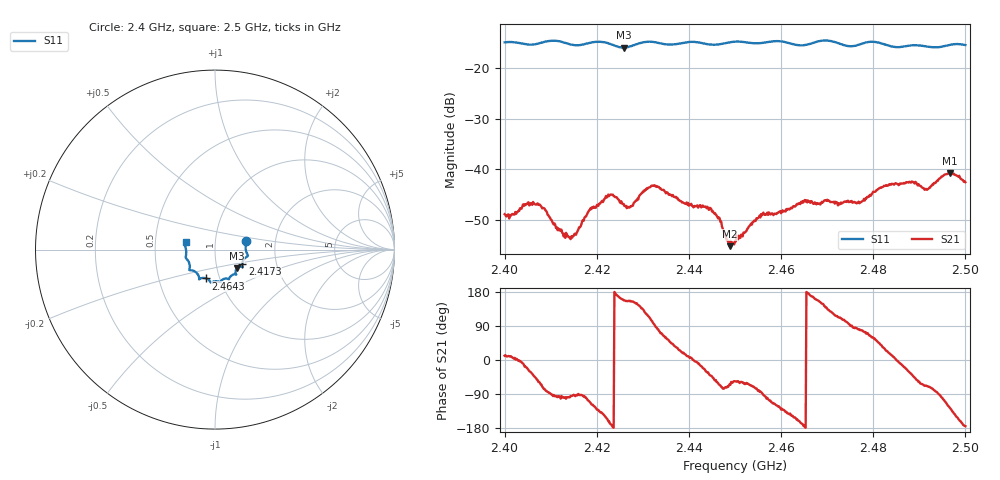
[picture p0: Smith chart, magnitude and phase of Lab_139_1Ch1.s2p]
# Hz S RI R 50
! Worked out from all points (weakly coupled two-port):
!   601 points, 2.4 GHz to 2.5 GHz, reference 50 ohm
!   highest |S21| = -40.70 dB at 2.4967 GHz (marker M1); lowest = -55.2 dB at 2.4488 GHz (marker M2)
!   lowest |S11| = -15.9 dB at 2.4258 GHz (marker M3), VSWR 1.38, Z = 62.3 - j13.3 ohm
!   |S11| at or under -10 dB: start of sweep to end of sweep
!   S12 and S22 are empty: the file has one direction only
!   S11 on the Smith chart (normalised r, x): 2.4 GHz: 1.41, +0.14; 2.4173 GHz: 1.34, -0.23; 2.4643 GHz: 0.86, -0.28; 2.5 GHz: 0.72, +0.06
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2.4e9  0.1733 0.0486  0.00354 0.000706  0 0  0 0
2.406667e9  0.1723 -0.00637  0.00311 -0.00326  0 0  0 0
2.414167e9  0.1654 -0.0484  -0.000299 -0.00208  0 0  0 0
2.416667e9  0.1529 -0.0747  -9.37e-05 -0.00288  0 0  0 0
2.417333e9  0.152 -0.0823  -0.000465 -0.00331  0 0  0 0
2.423e9  0.1454 -0.0945  -0.00554 -0.00106  0 0  0 0
2.425833e9  0.1215 -0.1037  -0.00421 0.00174  0 0  0 0
2.427333e9  0.1151 -0.1172  -0.00396 0.00176  0 0  0 0
2.430667e9  0.1183 -0.1382  -0.00337 0.00529  0 0  0 0
2.433333e9  0.113 -0.1373  0.00108 0.00664  0 0  0 0
2.445e9  0.0553 -0.1616  0.00279 -0.00264  0 0  0 0
2.448833e9  0.0321 -0.1772  0.000769 -0.00156  0 0  0 0
2.45e9  0.0289 -0.1807  0.00108 -0.00161  0 0  0 0
2.455667e9  -0.00396 -0.1771  0.000314 -0.00361  0 0  0 0
2.464333e9  -0.05 -0.1605  -0.00465 -0.00108  0 0  0 0
2.466667e9  -0.076 -0.1589  -0.00472 0.00104  0 0  0 0
2.476833e9  -0.1247 -0.1164  0.000789 0.00473  0 0  0 0
2.483333e9  -0.1407 -0.0901  0.00657 0.00232  0 0  0 0
2.488833e9  -0.1625 -0.0458  0.00526 -0.00518  0 0  0 0
2.491667e9  -0.1611 -0.0288  0.00226 -0.00587  0 0  0 0
2.496667e9  -0.1687 0.0242  -0.00555 -0.00737  0 0  0 0
2.5e9  -0.164 0.042  -0.00745 -0.000683  0 0  0 0
